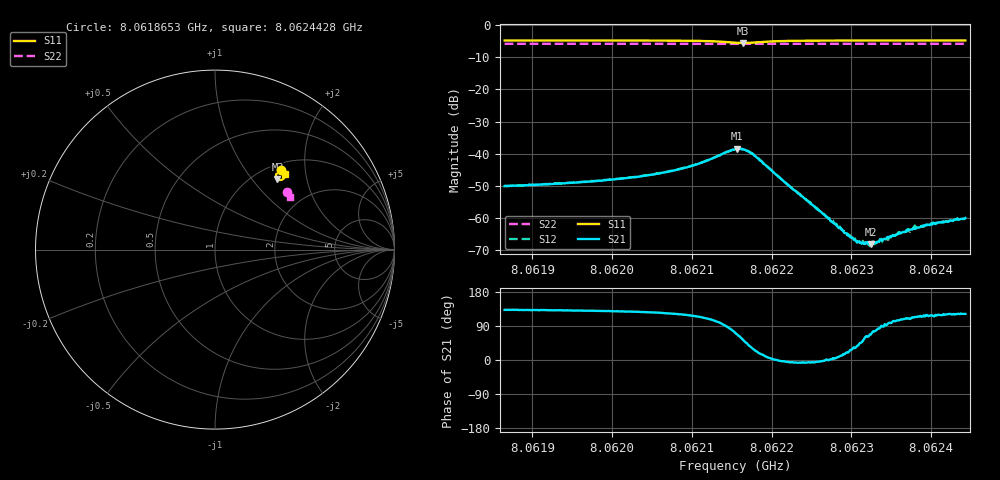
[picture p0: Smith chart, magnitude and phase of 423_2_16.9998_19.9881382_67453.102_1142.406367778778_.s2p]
#  HZ  S  RI  R  50.00
! Rohde & Schwarz Vector Network Analyzer
! Rohde-Schwarz,ZNB20-2Port,1311601062101988,3.16
! Created: UTC 3/20/2024, 11:11:02 PM
! freq[Hz]  re:S11  im:S11  re:S21  im:S21  re:S12  im:S12  re:S22  im:S22
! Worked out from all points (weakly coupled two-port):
!   401 points, 8.0618653 GHz to 8.0624428 GHz, reference 50 ohm
!   highest |S21| = -38.49 dB at 8.062157 GHz (marker M1); lowest = -68.1 dB at 8.0623244 GHz (marker M2)
!   lowest |S11| = -5.6 dB at 8.0621642 GHz (marker M3), VSWR 3.21, Z = 62.5 + j67.8 ohm
!   |S11| at or under -10 dB: nowhere
!   |S22| runs from -5.9 to -5.8 dB; largest |S21 - S12| = 0.0009
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8.06186534e9  0.3683 0.4429  -0.00211 0.00231  -0.00202 0.00245  0.3999 0.3196
8.06196207e9  0.3754 0.4367  -0.00234 0.00276  -0.00222 0.0029  0.4036 0.3148
8.0620588e9  0.3835 0.4267  -0.00279 0.00403  -0.00256 0.00427  0.4072 0.3097
8.06210356e9  0.3873 0.416  -0.00291 0.006  -0.0026 0.00622  0.4087 0.307
8.06215409e9  0.3643 0.3873  0.00353 0.0111  0.00426 0.011  0.4091 0.3037
8.06215697e9  0.3594 0.3878  0.00459 0.011  0.00522 0.0107  0.4089 0.3036
8.06216419e9  0.348 0.3932  0.00707 0.00932  0.00767 0.00894  0.4088 0.3037
8.06217285e9  0.3403 0.4061  0.00845 0.00613  0.00891 0.0057  0.4089 0.3039
8.06218152e9  0.3408 0.4188  0.00804 0.00329  0.00842 0.00283  0.4094 0.3041
8.06222194e9  0.3634 0.4356  0.00316 -0.000319  0.00314 -0.000521  0.4121 0.3026
8.06225082e9  0.372 0.4345  0.0016 -0.000147  0.00157 -0.000282  0.4134 0.3011
8.06230423e9  0.3806 0.4308  0.000387 0.000234  0.000405 0.000259  0.4155 0.2982
8.06231001e9  0.3813 0.4304  0.000315 0.000299  0.000336 0.000239  0.4157 0.298
8.06232156e9  0.3825 0.4295  0.000183 0.00035  0.000221 0.00036  0.4162 0.2973
8.06232445e9  0.3828 0.4294  0.00015 0.000362  0.000155 0.000384  0.4162 0.2973
8.06233166e9  0.3835 0.429  7.83e-05 0.000418  7.79e-05 0.000399  0.4164 0.2967
8.06234755e9  0.385 0.428  -7.32e-05 0.000496  -6.8e-05 0.000496  0.417 0.2959
8.06235765e9  0.3858 0.4272  -0.000146 0.000545  -0.00011 0.000554  0.4174 0.2954
8.06237498e9  0.3874 0.4262  -0.000234 0.000623  -0.00022 0.000618  0.4179 0.2944
8.06238075e9  0.3878 0.4258  -0.000275 0.000626  -0.000243 0.000669  0.4181 0.2943
8.06240529e9  0.3896 0.4243  -0.00039 0.000701  -0.000364 0.000756  0.419 0.2929
8.06244283e9  0.3923 0.4222  -0.000524 0.000852  -0.000469 0.000854  0.4203 0.2909
